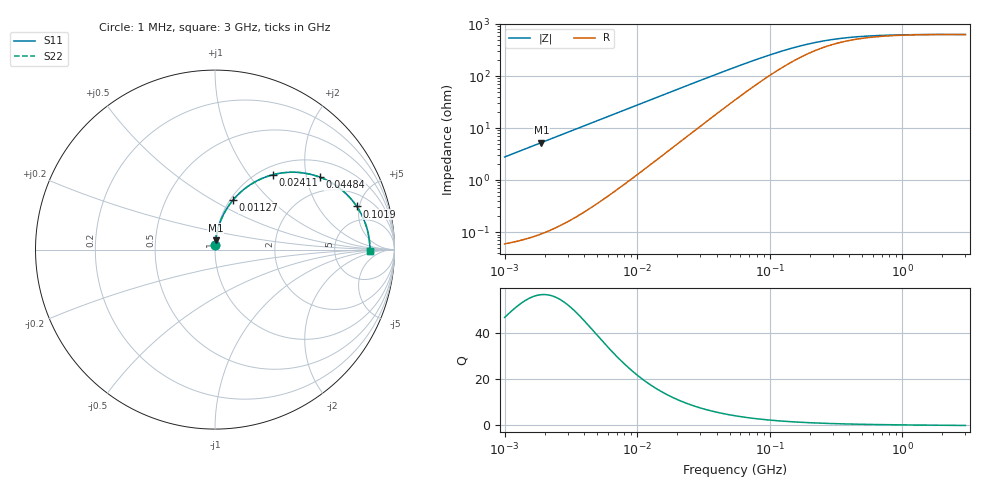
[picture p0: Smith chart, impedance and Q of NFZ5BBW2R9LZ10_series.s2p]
! NFZ5BBW2R9LZ10
# Hz S RI R 50
!Freq.(Hz) S11(Real) S11(Imag) S21(Real) S21(Imag) S12(Real) S12(Imag) S22(Real) S22(Imag)
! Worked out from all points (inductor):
!   401 points, 1 MHz to 3 GHz, reference 50 ohm
!   read as one part in series: L = 442 nH near 1.041 MHz
!   highest Q = 56.8 at 1.897 MHz (marker M1), where L = 442 nH
!   self-resonance near 2.211 GHz
!   S11 on the Smith chart (normalised r, x): 1 MHz: 1.00, +0.06; 11.27 MHz: 1.03, +0.62; 24.11 MHz: 1.14, +1.32; 44.84 MHz: 1.47, +2.39; 101.9 MHz: 3.12, +4.71; 3 GHz: 14, -1
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1000000  0.00136 0.0278  0.9986 -0.0278  0.9986 -0.0278  0.00136 0.0278
1897447  0.00368 0.0524  0.9963 -0.0524  0.9963 -0.0524  0.00368 0.0524
3823119  0.0133 0.1044  0.9867 -0.1044  0.9867 -0.1044  0.0133 0.1044
7110411  0.0432 0.1872  0.9568 -0.1872  0.9568 -0.1872  0.0432 0.1872
9040831  0.0676 0.231  0.9324 -0.231  0.9324 -0.231  0.0676 0.231
1.126754e7  0.1004 0.276  0.8996 -0.276  0.8996 -0.276  0.1004 0.276
1.461624e7  0.1562 0.3318  0.8438 -0.3318  0.8438 -0.3318  0.1562 0.3318
1.858443e7  0.2271 0.3796  0.7729 -0.3796  0.7729 -0.3796  0.2271 0.3796
2.41077e7  0.3238 0.4176  0.6762 -0.4176  0.6762 -0.4176  0.3238 0.4176
3.254976e7  0.451 0.4309  0.549 -0.4309  0.549 -0.4309  0.451 0.4309
4.483659e7  0.5826 0.4041  0.4174 -0.4041  0.4174 -0.4041  0.5826 0.4041
5.477226e7  0.6526 0.3705  0.3474 -0.3705  0.3474 -0.3705  0.6526 0.3705
7.395247e7  0.7334 0.3083  0.2666 -0.3083  0.2666 -0.3083  0.7334 0.3083
1.018679e8  0.7896 0.2407  0.2104 -0.2407  0.2104 -0.2407  0.7896 0.2407
1.520175e8  0.8287 0.1688  0.1713 -0.1688  0.1713 -0.1688  0.8287 0.1688
2.094008e8  0.8447 0.1244  0.1553 -0.1244  0.1553 -0.1244  0.8447 0.1244
2.827291e8  0.8531 0.0924  0.1469 -0.0924  0.1469 -0.0924  0.8531 0.0924
3.817355e8  0.8577 0.0678  0.1423 -0.0678  0.1423 -0.0678  0.8577 0.0678
5.364635e8  0.8605 0.047  0.1395 -0.047  0.1395 -0.047  0.8605 0.047
8.005644e8  0.8621 0.0291  0.1379 -0.0291  0.1379 -0.0291  0.8621 0.0291
1.430499e9  0.8629 0.0109  0.1371 -0.0109  0.1371 -0.0109  0.8629 0.0109
3e9  0.8629 -0.00754  0.1371 0.00754  0.1371 0.00754  0.8629 -0.00754
